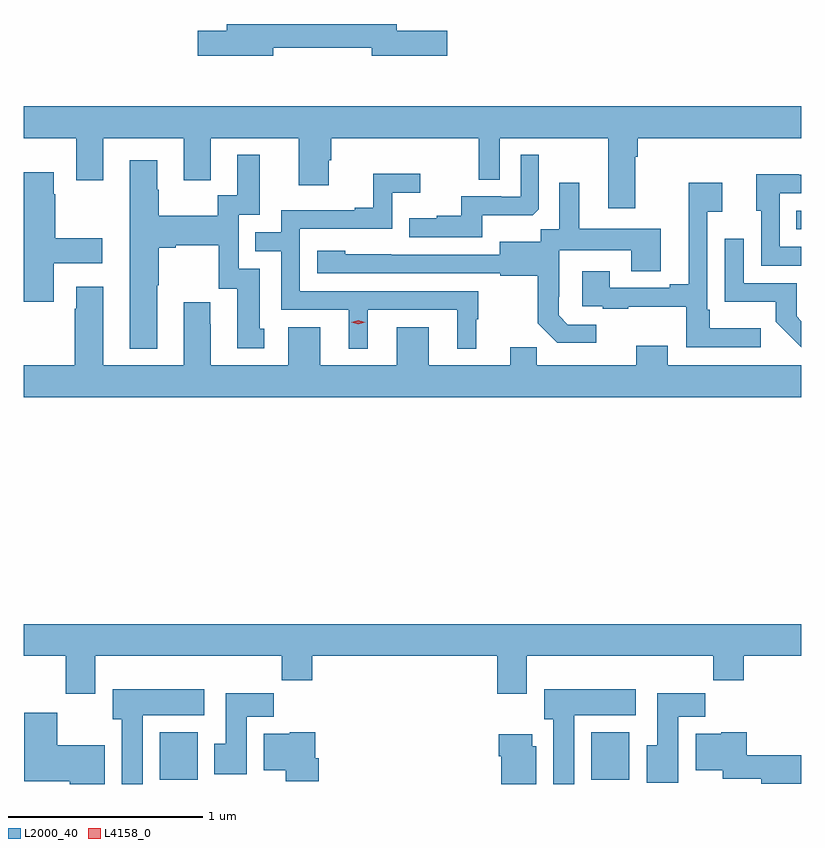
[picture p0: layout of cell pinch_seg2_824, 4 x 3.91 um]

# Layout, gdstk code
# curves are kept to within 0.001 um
import gdstk
lib = gdstk.Library(unit=1e-6, precision=1e-09)
def R(c, l, rs):  # rectangles x0, y0, x1, y1
    for r in rs: c.add(gdstk.rectangle(r[:2], r[2:], *l))
def P(c, l, *ps):  # polygons
    for p in ps: c.add(gdstk.Polygon(p, *l))
L2000_40 = (2000, 40)
L4158_0 = (4158, 0)

pinch_seg2_824 = lib.new_cell('pinch_seg2_824')
R(pinch_seg2_824, L2000_40, [(878.87,605.708,879.067,605.95), (881.09,605.708,881.287,605.95), (882.145,608.538,882.171,608.634)])
P(pinch_seg2_824, L2000_40, [(879.454,609.474),(879.962,609.474),(879.962,609.431),(880.351,609.431),(880.351,609.561),(880.09,609.561),(880.09,609.595),(879.215,609.595),(879.215,609.561),(879.066,609.561),(879.066,609.431),(879.454,609.431)],
  [(881.317,608.912),(881.33,608.912),(881.33,609.008),(882.171,609.008),(882.171,609.172),(878.171,609.172),(878.171,609.008),(878.441,609.008),(878.441,608.79),(878.581,608.79),(878.581,609.008),(878.993,609.008),(878.993,608.79),(879.133,608.79),(879.133,609.008),(879.587,609.008),(879.587,608.766),(879.739,608.766),(879.739,608.895),(879.752,608.895),(879.752,609.008),(880.512,609.008),(880.512,608.794),(880.62,608.794),(880.62,609.008),(881.177,609.008),(881.177,608.646),(881.317,608.646)],
  [(878.857,608.251),(878.865,608.251),(878.865,608.444),(878.953,608.444),(878.953,608.456),(879.173,608.456),(879.173,608.232),(879.269,608.232),(879.269,607.926),(879.409,607.926),(879.409,608.028),(879.385,608.028),(879.385,608.337),(879.276,608.337),(879.276,608.613),(879.385,608.613),(879.385,608.923),(879.269,608.923),(879.269,608.714),(879.168,608.714),(879.168,608.608),(878.865,608.608),(878.865,608.742),(878.857,608.742),(878.857,608.893),(878.717,608.893),(878.717,607.925),(878.857,607.925)],
  [(880.531,608.612),(880.789,608.612),(880.821,608.643),(880.821,608.923),(880.728,608.923),(880.728,608.706),(880.628,608.706),(880.628,608.709),(880.421,608.709),(880.421,608.608),(880.297,608.608),(880.297,608.596),(880.153,608.596),(880.153,608.499),(880.531,608.499)],
  [(878.326,608.363),(878.575,608.363),(878.575,608.493),(878.334,608.493),(878.334,608.72),(878.326,608.72),(878.326,608.833),(878.171,608.833),(878.171,608.166),(878.326,608.166)],
  [(879.94,608.124),(880.4,608.124),(880.4,607.925),(880.498,607.925),(880.498,608.076),(880.51,608.076),(880.51,608.22),(879.591,608.22),(879.591,608.541),(880.068,608.541),(880.068,608.726),(880.21,608.726),(880.21,608.825),(879.97,608.825),(879.97,608.65),(879.875,608.65),(879.875,608.637),(879.495,608.637),(879.495,608.523),(879.361,608.523),(879.361,608.427),(879.495,608.427),(879.495,608.124),(879.842,608.124),(879.842,607.925),(879.94,607.925)],
  [(882.171,608.448),(882.06,608.448),(882.06,608.724),(882.171,608.724),(882.171,608.82),(882.157,608.82),(882.157,608.822),(881.939,608.822),(881.939,608.634),(881.964,608.634),(881.964,608.352),(882.171,608.352)],
  [(881.116,608.049),(880.971,608.049),(880.924,608.096),(880.924,608.191),(880.926,608.191),(880.926,608.432),(881.297,608.432),(881.297,608.323),(881.449,608.323),(881.449,608.542),(881.029,608.542),(881.029,608.779),(880.925,608.779),(880.925,608.54),(880.83,608.54),(880.83,608.476),(880.619,608.476),(880.619,608.409),(879.825,608.41),(879.825,608.428),(879.681,608.428),(879.681,608.313),(880.623,608.313),(880.623,608.301),(880.815,608.301),(880.815,608.055),(880.915,607.955),(881.116,607.955)],
  [(881.962,608.029),(881.701,608.029),(881.701,608.125),(881.688,608.125),(881.688,608.63),(881.764,608.63),(881.764,608.779),(881.591,608.779),(881.591,608.257),(881.495,608.257),(881.495,608.238),(881.185,608.238),(881.185,608.323),(881.045,608.323),(881.045,608.142),(881.149,608.142),(881.149,608.13),(881.281,608.13),(881.281,608.141),(881.58,608.141),(881.58,607.932),(881.962,607.932)],
  [(882.171,608.067),(882.147,608.091),(882.147,608.262),(881.874,608.262),(881.874,608.491),(881.778,608.491),(881.778,608.165),(882.04,608.165),(882.04,608.063),(882.17,607.932),(882.171,607.932)],
  [(882.171,607.84),(881.485,607.84),(881.485,607.939),(881.321,607.939),(881.321,607.84),(880.811,607.84),(880.811,607.931),(880.673,607.931),(880.673,607.84),(880.255,607.84),(880.255,608.035),(880.091,608.035),(880.091,607.84),(879.697,607.84),(879.697,608.035),(879.533,608.035),(879.533,607.84),(879.133,607.84),(879.133,608.051),(879.13,608.051),(879.13,608.164),(878.993,608.164),(878.993,607.84),(878.581,607.84),(878.581,608.242),(878.441,608.242),(878.441,608.129),(878.434,608.129),(878.434,607.84),(878.171,607.84),(878.171,607.676),(882.171,607.676)],
  [(878.539,606.344),(879.499,606.344),(879.499,606.22),(879.656,606.22),(879.656,606.344),(880.607,606.344),(880.607,606.15),(880.759,606.15),(880.759,606.344),(881.719,606.344),(881.719,606.22),(881.876,606.22),(881.876,606.344),(882.171,606.344),(882.171,606.508),(878.171,606.508),(878.171,606.344),(878.387,606.344),(878.387,606.15),(878.539,606.15)],
  [(878.782,606.038),(879.1,606.038),(879.1,606.172),(878.63,606.172),(878.63,606.018),(878.675,606.018),(878.675,605.685),(878.782,605.685)],
  [(881.002,606.038),(881.32,606.038),(881.32,606.172),(880.85,606.172),(880.85,606.018),(880.895,606.018),(880.895,605.685),(881.002,605.685)],
  [(879.319,606.032),(879.458,606.032),(879.458,606.151),(879.209,606.151),(879.209,605.892),(879.152,605.892),(879.152,605.736),(879.319,605.736)],
  [(881.539,606.032),(881.678,606.032),(881.678,606.151),(881.429,606.151),(881.429,605.884),(881.375,605.884),(881.375,605.691),(881.539,605.691)],
  [(878.587,605.884),(878.344,605.884),(878.344,606.052),(878.174,606.052),(878.174,605.699),(878.408,605.699),(878.408,605.685),(878.587,605.685)],
  [(879.689,605.817),(879.671,605.817),(879.671,605.95),(879.54,605.95),(879.54,605.944),(879.407,605.944),(879.407,605.756),(879.518,605.756),(879.518,605.699),(879.689,605.699)],
  [(882.171,605.834),(881.891,605.834),(881.891,605.95),(881.76,605.95),(881.76,605.944),(881.627,605.944),(881.627,605.756),(881.768,605.756),(881.768,605.711),(881.964,605.711),(881.964,605.687),(882.171,605.687)],
  [(880.807,605.88),(880.786,605.88),(880.786,605.941),(880.616,605.941),(880.616,605.828),(880.628,605.828),(880.628,605.685),(880.807,605.685)])
P(pinch_seg2_824, L4158_0, [(879.891,608.051),(879.855,608.061),(879.855,608.061),(879.855,608.061),(879.891,608.071),(879.927,608.061),(879.927,608.061),(879.927,608.061)])

lib.write_gds('pinch_seg2_824.gds')
